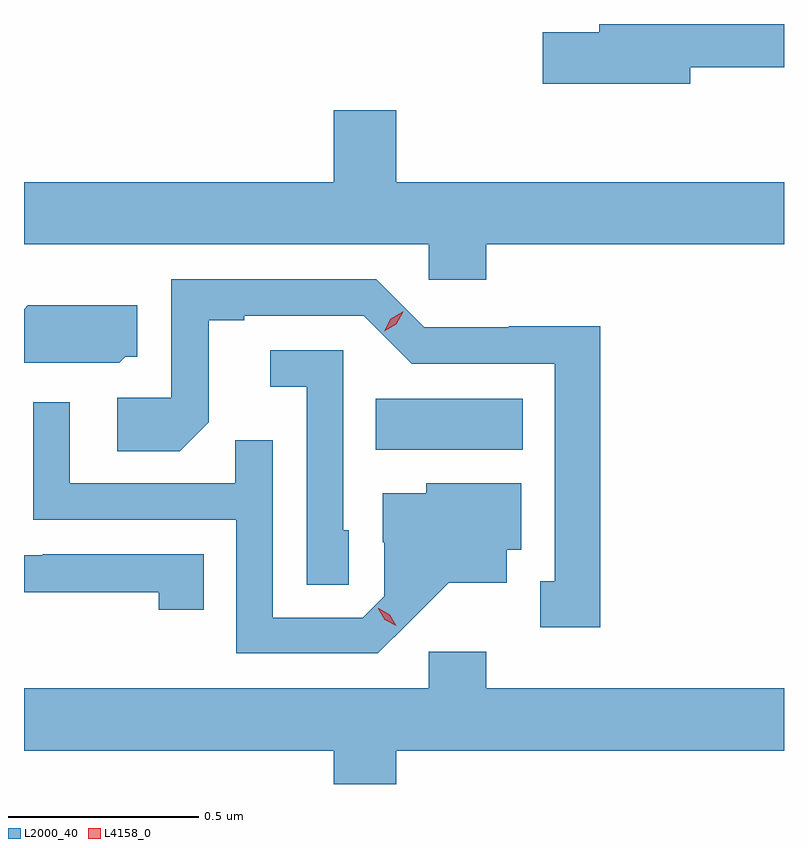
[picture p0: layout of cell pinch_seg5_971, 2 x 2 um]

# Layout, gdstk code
import gdstk
lib = gdstk.Library(unit=1e-6, precision=1e-09)
def R(c, l, rs):  # rectangles x0, y0, x1, y1
    for r in rs: c.add(gdstk.rectangle(r[:2], r[2:], *l))
def P(c, l, *ps):  # polygons
    for p in ps: c.add(gdstk.Polygon(p, *l))
L2000_40 = (2000, 40)
L4158_0 = (4158, 0)

pinch_seg5_971 = lib.new_cell('pinch_seg5_971')
R(pinch_seg5_971, L2000_40, [(704.578,888.188,704.965,888.322)])
P(pinch_seg5_971, L2000_40, [(705.406,889.194),(705.653,889.194),(705.653,889.308),(705.167,889.308),(705.167,889.286),(705.018,889.286),(705.018,889.151),(705.406,889.151)],
  [(704.87,888.728),(705.653,888.728),(705.653,888.892),(704.632,888.892),(704.632,889.081),(704.468,889.081),(704.468,888.892),(703.653,888.892),(703.653,888.728),(704.718,888.728),(704.718,888.635),(704.87,888.635)],
  [(705.169,888.512),(704.928,888.512),(704.928,888.51),(704.706,888.51),(704.58,888.636),(704.04,888.636),(704.04,888.324),(703.899,888.324),(703.899,888.184),(704.063,888.184),(704.139,888.26),(704.139,888.528),(704.233,888.528),(704.233,888.54),(704.547,888.54),(704.673,888.414),(705.05,888.414),(705.05,887.841),(705.011,887.841),(705.011,887.721),(705.169,887.721)],
  [(703.92,888.432),(703.951,888.432),(703.951,888.568),(703.663,888.568),(703.653,888.558),(703.653,888.417),(703.77,888.417),(703.77,888.416),(703.904,888.416)],
  [(704.508,887.976),(704.493,887.976),(704.493,888.45),(704.301,888.45),(704.301,888.353),(704.397,888.353),(704.397,887.833),(704.508,887.833)],
  [(704.668,887.735),(704.771,887.837),(704.923,887.837),(704.923,887.924),(704.962,887.924),(704.962,888.1),(704.712,888.1),(704.712,888.073),(704.597,888.073),(704.597,887.944),(704.601,887.944),(704.601,887.802),(704.544,887.745),(704.307,887.745),(704.307,888.212),(704.209,888.212),(704.209,888.099),(703.773,888.099),(703.773,888.313),(703.677,888.313),(703.677,888.003),(704.211,888.003),(704.211,887.652),(704.584,887.652)],
  [(704.126,887.913),(703.702,887.913),(703.702,887.91),(703.653,887.91),(703.653,887.812),(704.008,887.812),(704.008,887.766),(704.126,887.766)],
  [(704.632,887.396),(705.653,887.396),(705.653,887.56),(704.87,887.56),(704.87,887.656),(704.718,887.656),(704.718,887.56),(703.653,887.56),(703.653,887.396),(704.468,887.396),(704.468,887.308),(704.632,887.308)])
P(pinch_seg5_971, L4158_0, [(704.601,888.5),(704.601,888.5),(704.618,888.532),(704.65,888.551),(704.651,888.551),(704.651,888.551),(704.633,888.518),(704.601,888.5)],
  [(704.633,887.725),(704.602,887.74),(704.585,887.769),(704.585,887.77),(704.586,887.77),(704.616,887.754),(704.633,887.725),(704.633,887.725)])

lib.write_gds('pinch_seg5_971.gds')
